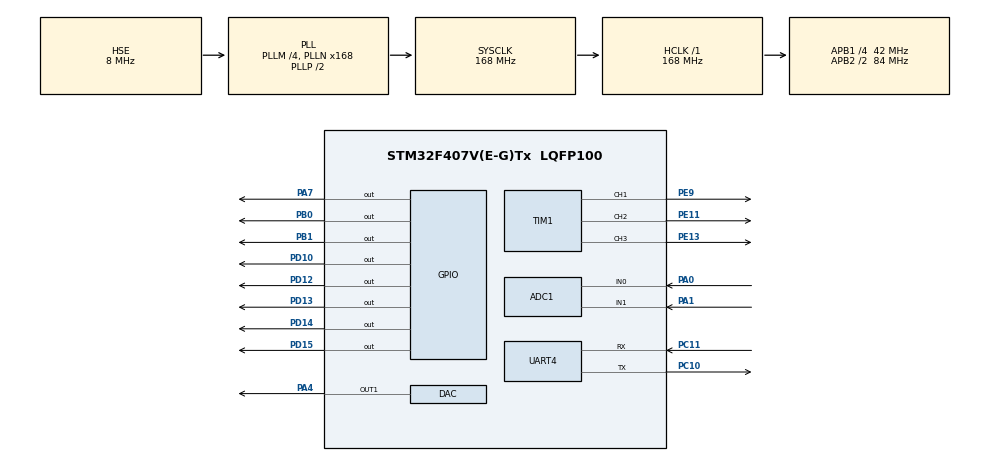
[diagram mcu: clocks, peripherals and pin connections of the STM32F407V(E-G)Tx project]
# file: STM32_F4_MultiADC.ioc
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ADC1.Channel-0\#ChannelRegularConversion=ADC_CHANNEL_0
ADC1.Channel-5\#ChannelRegularConversion=ADC_CHANNEL_1
ADC1.ContinuousConvMode=ENABLE
ADC1.DMAContinuousRequests=ENABLE
ADC1.EOCSelection=ADC_EOC_SINGLE_CONV
ADC1.EnableAnalogWatchDog=false
ADC1.InjNumberOfConversion=0
ADC1.NbrOfConversion=2
ADC1.NbrOfConversionFlag=1
ADC1.Rank-0\#ChannelRegularConversion=1
ADC1.Rank-5\#ChannelRegularConversion=2
ADC1.SamplingTime-0\#ChannelRegularConversion=ADC_SAMPLETIME_144CYCLES
ADC1.SamplingTime-5\#ChannelRegularConversion=ADC_SAMPLETIME_144CYCLES
ADC1.ScanConvMode=ENABLE
ADC1.master=1
Dma.ADC1.0.Direction=DMA_PERIPH_TO_MEMORY
Dma.ADC1.0.FIFOMode=DMA_FIFOMODE_DISABLE
Dma.ADC1.0.Instance=DMA2_Stream0
Dma.ADC1.0.MemDataAlignment=DMA_MDATAALIGN_HALFWORD
Dma.ADC1.0.MemInc=DMA_MINC_ENABLE
Dma.ADC1.0.Mode=DMA_CIRCULAR
Dma.ADC1.0.PeriphDataAlignment=DMA_PDATAALIGN_HALFWORD
Dma.ADC1.0.PeriphInc=DMA_PINC_DISABLE
Dma.ADC1.0.Priority=DMA_PRIORITY_LOW
Dma.Request0=ADC1
Mcu.Family=STM32F4
Mcu.Name=STM32F407V(E-G)Tx
Mcu.Package=LQFP100
NVIC.ADC_IRQn=true\:0\:0\:false\:false\:true\:true\:true\:true
NVIC.DMA2_Stream0_IRQn=true\:0\:0\:false\:false\:true\:false\:true\:true
NVIC.PriorityGroup=NVIC_PRIORITYGROUP_4
NVIC.TIM2_IRQn=true\:0\:0\:false\:false\:true\:true\:true\:true
NVIC.UART4_IRQn=true\:0\:0\:false\:false\:true\:true\:true\:true
PA0-WKUP.Signal=ADCx_IN0
PA1.Signal=ADCx_IN1
PA13.Mode=Serial_Wire
PA13.Signal=SYS_JTMS-SWDIO
PA14.Mode=Serial_Wire
PA14.Signal=SYS_JTCK-SWCLK
PA4.Signal=COMP_DAC1_group
PA7.Signal=GPIO_Output
PB0.Signal=GPIO_Output
PB1.Signal=GPIO_Output
PC10.Mode=Asynchronous
PC10.Signal=UART4_TX
PC11.Mode=Asynchronous
PC11.Signal=UART4_RX
PD10.Signal=GPIO_Output
PD12.Signal=GPIO_Output
PD13.Signal=GPIO_Output
PD14.Signal=GPIO_Output
PD15.Signal=GPIO_Output
PE11.Signal=S_TIM1_CH2
PE13.Signal=S_TIM1_CH3
PE9.Signal=S_TIM1_CH1
PH0-OSC_IN.Mode=HSE-External-Oscillator
PH0-OSC_IN.Signal=RCC_OSC_IN
PH1-OSC_OUT.Mode=HSE-External-Oscillator
PH1-OSC_OUT.Signal=RCC_OSC_OUT
ProjectManager.HeapSize=0x200
ProjectManager.StackSize=0x400
ProjectManager.TargetToolchain=STM32CubeIDE
RCC.48MHZClocksFreq_Value=84000000
RCC.AHBFreq_Value=168000000
RCC.APB1CLKDivider=RCC_HCLK_DIV4
RCC.APB1Freq_Value=42000000
RCC.APB1TimFreq_Value=84000000
RCC.APB2CLKDivider=RCC_HCLK_DIV2
RCC.APB2Freq_Value=84000000
RCC.APB2TimFreq_Value=168000000
RCC.CortexFreq_Value=168000000
RCC.HCLKFreq_Value=168000000
RCC.HSE_VALUE=8000000
RCC.HSI_VALUE=16000000
RCC.LSE_VALUE=32768
RCC.PLLM=4
RCC.PLLN=168
RCC.PLLSourceVirtual=RCC_PLLSOURCE_HSE
RCC.SYSCLKFreq_VALUE=168000000
RCC.SYSCLKSource=RCC_SYSCLKSOURCE_PLLCLK
RCC.VCOOutputFreq_Value=336000000
SH.ADCx_IN0.0=ADC1_IN0,IN0
SH.ADCx_IN1.0=ADC1_IN1,IN1
SH.COMP_DAC1_group.0=DAC_OUT1,DAC_OUT1
SH.S_TIM1_CH1.0=TIM1_CH1,PWM Generation1 CH1
SH.S_TIM1_CH2.0=TIM1_CH2,PWM Generation2 CH2
SH.S_TIM1_CH3.0=TIM1_CH3,PWM Generation3 CH3
TIM1.Channel-PWM\ Generation1\ CH1=TIM_CHANNEL_1
TIM1.Channel-PWM\ Generation2\ CH2=TIM_CHANNEL_2
TIM1.Channel-PWM\ Generation3\ CH3=TIM_CHANNEL_3
TIM2.Period=839
UART4.VirtualMode=Asynchronous
VP_TIM1_VS_ClockSourceINT.Mode=Internal
VP_TIM2_VS_ClockSourceINT.Mode=Internal
board=custom

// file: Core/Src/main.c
/* USER CODE BEGIN Header */
/**
  ******************************************************************************
  * @file           : main.c
  * @brief          : Main program body
  ******************************************************************************
  * @attention
  *
  * Copyright (c) 2025 STMicroelectronics.
  * All rights reserved.
  *
  * This software is licensed under terms that can be found in the LICENSE file
  * in the root directory of this software component.
  * If no LICENSE file comes with this software, it is provided AS-IS.
  *
  ******************************************************************************
  */
/* USER CODE END Header */
#include "main.h"

/* USER CODE BEGIN Includes */
#include "string.h"

volatile uint8_t timer_100uS=0;
uint8_t timer_1mS=0,timer_100mS=0,timer_1Sec=0,timer_3Sec=0,timer_10Sec=0;
uint32_t adc_raw=0;
uint16_t DAC_Val=0;
uint32_t VoltageVAl=0,Voltage_Filt=0;
uint8_t ReceiveData=0;
float V_meas=0;
float V_real=0;
uint16_t rx_index = 0;
uint8_t bcc_rx=0;
uint8_t rx_buffer[50];
uint8_t data_length=0;
uint8_t data_index=0;
float new_offset=0;
float new_gain=0;

uint16_t ADC_VAL[2];
volatile uint16_t adc_ch0 = 0;
volatile uint16_t adc_ch1 = 0;

typedef struct
{
    float adc_offset;
    float gain_correction;
    //parametre eklenirse
    //@add_param
    uint32_t valid_flag; // sonradan kontrol için
} CalibrationData_t;

CalibrationData_t calib_data;
/* USER CODE END Includes */

/* USER CODE BEGIN PD */
#define FLASH_USER_START_ADDR  ((uint32_t)0x080E0000) // Sector 11 start
#define FLASH_USER_SECTOR      FLASH_SECTOR_11
/* USER CODE END PD */

/* USER CODE BEGIN PM */
void send_voltage_packet(uint32_t raw_data,float real_data, float offset, float gain);
void calculate_adc_val(void);
void SaveCalibrationData(const CalibrationData_t *data);
void LoadCalibrationData(CalibrationData_t *data);
void Reset_Rx_Buffer(void);
void procces_rx_message(uint8_t *data);
/* USER CODE END PM */

ADC_HandleTypeDef hadc1;
DMA_HandleTypeDef hdma_adc1;

DAC_HandleTypeDef hdac;

TIM_HandleTypeDef htim1;
TIM_HandleTypeDef htim2;

UART_HandleTypeDef huart4;

void SystemClock_Config(void);
static void MX_GPIO_Init(void);
static void MX_DMA_Init(void);
static void MX_ADC1_Init(void);
static void MX_TIM1_Init(void);
static void MX_TIM2_Init(void);
static void MX_DAC_Init(void);
static void MX_UART4_Init(void);

int main(void)
{

  /* MCU Configuration--------------------------------------------------------*/

  /* Reset of all peripherals, Initializes the Flash interface and the Systick. */
  HAL_Init();

  /* Configure the system clock */
  SystemClock_Config();

  /* Initialize all configured peripherals */
  MX_GPIO_Init();
  MX_DMA_Init();
  MX_ADC1_Init();
  MX_TIM1_Init();
  MX_TIM2_Init();
  MX_DAC_Init();
  MX_UART4_Init();
  /* USER CODE BEGIN 2 */
  //HAL_UART_Transmit(&huart1, 0, 1, 10);
  //HAL_UART_Receive_IT(&huart4, &ReceiveData, 1);
  UART4->CR1 |= USART_CR1_RXNEIE;

  TIM2->DIER |= TIM_DIER_UIE;
  TIM2->CR1 |= TIM_CR1_CEN;
  LoadCalibrationData(&calib_data);
  HAL_DAC_Start(&hdac, DAC_CHANNEL_1);
  HAL_ADC_Start_DMA(&hadc1, (uint32_t*)ADC_VAL, 2);
  /* USER CODE END 2 */

  /* Infinite loop */
  /* USER CODE BEGIN WHILE */
  while (1)
  {
	  if(timer_100uS>9)//100uS Loop
	  {timer_1mS++;
		  calculate_adc_val();
		  HAL_DAC_SetValue(&hdac, DAC_CHANNEL_1,DAC_ALIGN_12B_R, DAC_Val);
		  timer_100uS=0;
	  }
	  if(timer_1mS>9)//1mS Loop
	  {timer_100mS++;
	  GPIOD->ODR ^= (1<<13);
		  timer_1mS=0;
	  }
	  if(timer_100mS>99)//100mS Loop
	  {timer_1Sec++;
	  GPIOD->ODR ^= (1<<14);
		  timer_100mS=0;
	  }
	  if(timer_1Sec>9)//1Sec Loop
	  {timer_10Sec++;timer_3Sec++;
	  GPIOD->ODR ^= (1<<15);
		  timer_1Sec=0;
	  }
	  if(timer_3Sec>2)//3Sec Loop
	  {
		  GPIOD->ODR ^= (1<<12);
		  timer_3Sec=0;
	  }
	  if(timer_10Sec>9)//10Sec Loop
	  {
		  GPIOD->ODR ^= (1<<10);
		  timer_10Sec=0;
	  }
    /* USER CODE END WHILE */

  }
}

void SystemClock_Config(void)
{
  RCC_OscInitTypeDef RCC_OscInitStruct = {0};
  RCC_ClkInitTypeDef RCC_ClkInitStruct = {0};

  /** Configure the main internal regulator output voltage
  */
  __HAL_RCC_PWR_CLK_ENABLE();
  __HAL_PWR_VOLTAGESCALING_CONFIG(PWR_REGULATOR_VOLTAGE_SCALE1);

  /** Initializes the RCC Oscillators according to the specified parameters
  * in the RCC_OscInitTypeDef structure.
  */
  RCC_OscInitStruct.OscillatorType = RCC_OSCILLATORTYPE_HSE;
  RCC_OscInitStruct.HSEState = RCC_HSE_ON;
  RCC_OscInitStruct.PLL.PLLState = RCC_PLL_ON;
  RCC_OscInitStruct.PLL.PLLSource = RCC_PLLSOURCE_HSE;
  RCC_OscInitStruct.PLL.PLLM = 4;
  RCC_OscInitStruct.PLL.PLLN = 168;
  RCC_OscInitStruct.PLL.PLLP = RCC_PLLP_DIV2;
  RCC_OscInitStruct.PLL.PLLQ = 4;
  if (HAL_RCC_OscConfig(&RCC_OscInitStruct) != HAL_OK)
  {
    Error_Handler();
  }

  /** Initializes the CPU, AHB and APB buses clocks
  */
  RCC_ClkInitStruct.ClockType = RCC_CLOCKTYPE_HCLK|RCC_CLOCKTYPE_SYSCLK
                              |RCC_CLOCKTYPE_PCLK1|RCC_CLOCKTYPE_PCLK2;
  RCC_ClkInitStruct.SYSCLKSource = RCC_SYSCLKSOURCE_PLLCLK;
  RCC_ClkInitStruct.AHBCLKDivider = RCC_SYSCLK_DIV1;
  RCC_ClkInitStruct.APB1CLKDivider = RCC_HCLK_DIV4;
  RCC_ClkInitStruct.APB2CLKDivider = RCC_HCLK_DIV2;

  if (HAL_RCC_ClockConfig(&RCC_ClkInitStruct, FLASH_LATENCY_5) != HAL_OK)
  {
    Error_Handler();
  }
}

static void MX_ADC1_Init(void)
{

  ADC_ChannelConfTypeDef sConfig = {0};

  /** Configure the global features of the ADC (Clock, Resolution, Data Alignment and number of conversion)
  */
  hadc1.Instance = ADC1;
  hadc1.Init.ClockPrescaler = ADC_CLOCK_SYNC_PCLK_DIV4;
  hadc1.Init.Resolution = ADC_RESOLUTION_12B;
  hadc1.Init.ScanConvMode = ENABLE;
  hadc1.Init.ContinuousConvMode = ENABLE;
  hadc1.Init.DiscontinuousConvMode = DISABLE;
  hadc1.Init.ExternalTrigConvEdge = ADC_EXTERNALTRIGCONVEDGE_NONE;
  hadc1.Init.ExternalTrigConv = ADC_SOFTWARE_START;
  hadc1.Init.DataAlign = ADC_DATAALIGN_RIGHT;
  hadc1.Init.NbrOfConversion = 2;
  hadc1.Init.DMAContinuousRequests = ENABLE;
  hadc1.Init.EOCSelection = ADC_EOC_SINGLE_CONV;
  if (HAL_ADC_Init(&hadc1) != HAL_OK)
  {
    Error_Handler();
  }

  /** Configure for the selected ADC regular channel its corresponding rank in the sequencer and its sample time.
  */
  sConfig.Channel = ADC_CHANNEL_0;
  sConfig.Rank = 1;
  sConfig.SamplingTime = ADC_SAMPLETIME_144CYCLES;
  if (HAL_ADC_ConfigChannel(&hadc1, &sConfig) != HAL_OK)
  {
    Error_Handler();
  }

  /** Configure for the selected ADC regular channel its corresponding rank in the sequencer and its sample time.
  */
  sConfig.Channel = ADC_CHANNEL_1;
  sConfig.Rank = 2;
  if (HAL_ADC_ConfigChannel(&hadc1, &sConfig) != HAL_OK)
  {
    Error_Handler();
  }

}

static void MX_DAC_Init(void)
{

  DAC_ChannelConfTypeDef sConfig = {0};

  /** DAC Initialization
  */
  hdac.Instance = DAC;
  if (HAL_DAC_Init(&hdac) != HAL_OK)
  {
    Error_Handler();
  }

  /** DAC channel OUT1 config
  */
  sConfig.DAC_Trigger = DAC_TRIGGER_NONE;
  sConfig.DAC_OutputBuffer = DAC_OUTPUTBUFFER_ENABLE;
  if (HAL_DAC_ConfigChannel(&hdac, &sConfig, DAC_CHANNEL_1) != HAL_OK)
  {
    Error_Handler();
  }

}

static void MX_TIM1_Init(void)
{

  TIM_ClockConfigTypeDef sClockSourceConfig = {0};
  TIM_MasterConfigTypeDef sMasterConfig = {0};
  TIM_OC_InitTypeDef sConfigOC = {0};
  TIM_BreakDeadTimeConfigTypeDef sBreakDeadTimeConfig = {0};

  htim1.Instance = TIM1;
  htim1.Init.Prescaler = 0;
  htim1.Init.CounterMode = TIM_COUNTERMODE_UP;
  htim1.Init.Period = 65535;
  htim1.Init.ClockDivision = TIM_CLOCKDIVISION_DIV1;
  htim1.Init.RepetitionCounter = 0;
  htim1.Init.AutoReloadPreload = TIM_AUTORELOAD_PRELOAD_DISABLE;
  if (HAL_TIM_Base_Init(&htim1) != HAL_OK)
  {
    Error_Handler();
  }
  sClockSourceConfig.ClockSource = TIM_CLOCKSOURCE_INTERNAL;
  if (HAL_TIM_ConfigClockSource(&htim1, &sClockSourceConfig) != HAL_OK)
  {
    Error_Handler();
  }
  if (HAL_TIM_PWM_Init(&htim1) != HAL_OK)
  {
    Error_Handler();
  }
  sMasterConfig.MasterOutputTrigger = TIM_TRGO_RESET;
  sMasterConfig.MasterSlaveMode = TIM_MASTERSLAVEMODE_DISABLE;
  if (HAL_TIMEx_MasterConfigSynchronization(&htim1, &sMasterConfig) != HAL_OK)
  {
    Error_Handler();
  }
  sConfigOC.OCMode = TIM_OCMODE_PWM1;
  sConfigOC.Pulse = 0;
  sConfigOC.OCPolarity = TIM_OCPOLARITY_HIGH;
  sConfigOC.OCNPolarity = TIM_OCNPOLARITY_HIGH;
  sConfigOC.OCFastMode = TIM_OCFAST_DISABLE;
  sConfigOC.OCIdleState = TIM_OCIDLESTATE_RESET;
  sConfigOC.OCNIdleState = TIM_OCNIDLESTATE_RESET;
  if (HAL_TIM_PWM_ConfigChannel(&htim1, &sConfigOC, TIM_CHANNEL_1) != HAL_OK)
  {
    Error_Handler();
  }
  if (HAL_TIM_PWM_ConfigChannel(&htim1, &sConfigOC, TIM_CHANNEL_2) != HAL_OK)
  {
    Error_Handler();
  }
  if (HAL_TIM_PWM_ConfigChannel(&htim1, &sConfigOC, TIM_CHANNEL_3) != HAL_OK)
  {
    Error_Handler();
  }
  sBreakDeadTimeConfig.OffStateRunMode = TIM_OSSR_DISABLE;
  sBreakDeadTimeConfig.OffStateIDLEMode = TIM_OSSI_DISABLE;
  sBreakDeadTimeConfig.LockLevel = TIM_LOCKLEVEL_OFF;
  sBreakDeadTimeConfig.DeadTime = 0;
  sBreakDeadTimeConfig.BreakState = TIM_BREAK_DISABLE;
  sBreakDeadTimeConfig.BreakPolarity = TIM_BREAKPOLARITY_HIGH;
  sBreakDeadTimeConfig.AutomaticOutput = TIM_AUTOMATICOUTPUT_DISABLE;
  if (HAL_TIMEx_ConfigBreakDeadTime(&htim1, &sBreakDeadTimeConfig) != HAL_OK)
  {
    Error_Handler();
  }
  HAL_TIM_MspPostInit(&htim1);

}

static void MX_TIM2_Init(void)
{

  TIM_ClockConfigTypeDef sClockSourceConfig = {0};
  TIM_MasterConfigTypeDef sMasterConfig = {0};

  htim2.Instance = TIM2;
  htim2.Init.Prescaler = 0;
  htim2.Init.CounterMode = TIM_COUNTERMODE_UP;
  htim2.Init.Period = 839;
  htim2.Init.ClockDivision = TIM_CLOCKDIVISION_DIV1;
  htim2.Init.AutoReloadPreload = TIM_AUTORELOAD_PRELOAD_DISABLE;
  if (HAL_TIM_Base_Init(&htim2) != HAL_OK)
  {
    Error_Handler();
  }
  sClockSourceConfig.ClockSource = TIM_CLOCKSOURCE_INTERNAL;
  if (HAL_TIM_ConfigClockSource(&htim2, &sClockSourceConfig) != HAL_OK)
  {
    Error_Handler();
  }
  sMasterConfig.MasterOutputTrigger = TIM_TRGO_RESET;
  sMasterConfig.MasterSlaveMode = TIM_MASTERSLAVEMODE_DISABLE;
  if (HAL_TIMEx_MasterConfigSynchronization(&htim2, &sMasterConfig) != HAL_OK)
  {
    Error_Handler();
  }

}

static void MX_UART4_Init(void)
{

  huart4.Instance = UART4;
  huart4.Init.BaudRate = 115200;
  huart4.Init.WordLength = UART_WORDLENGTH_8B;
  huart4.Init.StopBits = UART_STOPBITS_1;
  huart4.Init.Parity = UART_PARITY_NONE;
  huart4.Init.Mode = UART_MODE_TX_RX;
  huart4.Init.HwFlowCtl = UART_HWCONTROL_NONE;
  huart4.Init.OverSampling = UART_OVERSAMPLING_16;
  if (HAL_UART_Init(&huart4) != HAL_OK)
  {
    Error_Handler();
  }

}

static void MX_DMA_Init(void)
{

  /* DMA controller clock enable */
  __HAL_RCC_DMA2_CLK_ENABLE();

  /* DMA interrupt init */
  /* DMA2_Stream0_IRQn interrupt configuration */
  HAL_NVIC_SetPriority(DMA2_Stream0_IRQn, 0, 0);
  HAL_NVIC_EnableIRQ(DMA2_Stream0_IRQn);

}

static void MX_GPIO_Init(void)
{
  GPIO_InitTypeDef GPIO_InitStruct = {0};

  /* GPIO Ports Clock Enable */
  __HAL_RCC_GPIOH_CLK_ENABLE();
  __HAL_RCC_GPIOA_CLK_ENABLE();
  __HAL_RCC_GPIOB_CLK_ENABLE();
  __HAL_RCC_GPIOE_CLK_ENABLE();
  __HAL_RCC_GPIOD_CLK_ENABLE();
  __HAL_RCC_GPIOC_CLK_ENABLE();

  /*Configure GPIO pin Output Level */
  HAL_GPIO_WritePin(GPIOA, GPIO_PIN_7, GPIO_PIN_RESET);

  /*Configure GPIO pin Output Level */
  HAL_GPIO_WritePin(GPIOB, GPIO_PIN_0|GPIO_PIN_1, GPIO_PIN_RESET);

  /*Configure GPIO pin Output Level */
  HAL_GPIO_WritePin(GPIOD, GPIO_PIN_10|GPIO_PIN_12|GPIO_PIN_13|GPIO_PIN_14
                          |GPIO_PIN_15, GPIO_PIN_RESET);

  /*Configure GPIO pin : PA7 */
  GPIO_InitStruct.Pin = GPIO_PIN_7;
  GPIO_InitStruct.Mode = GPIO_MODE_OUTPUT_PP;
  GPIO_InitStruct.Pull = GPIO_NOPULL;
  GPIO_InitStruct.Speed = GPIO_SPEED_FREQ_LOW;
  HAL_GPIO_Init(GPIOA, &GPIO_InitStruct);

  /*Configure GPIO pins : PB0 PB1 */
  GPIO_InitStruct.Pin = GPIO_PIN_0|GPIO_PIN_1;
  GPIO_InitStruct.Mode = GPIO_MODE_OUTPUT_PP;
  GPIO_InitStruct.Pull = GPIO_NOPULL;
  GPIO_InitStruct.Speed = GPIO_SPEED_FREQ_LOW;
  HAL_GPIO_Init(GPIOB, &GPIO_InitStruct);

  /*Configure GPIO pins : PD10 PD12 PD13 PD14
                           PD15 */
  GPIO_InitStruct.Pin = GPIO_PIN_10|GPIO_PIN_12|GPIO_PIN_13|GPIO_PIN_14
                          |GPIO_PIN_15;
  GPIO_InitStruct.Mode = GPIO_MODE_OUTPUT_PP;
  GPIO_InitStruct.Pull = GPIO_NOPULL;
  GPIO_InitStruct.Speed = GPIO_SPEED_FREQ_LOW;
  HAL_GPIO_Init(GPIOD, &GPIO_InitStruct);

}

/* USER CODE BEGIN 4 */
void SaveCalibrationData(const CalibrationData_t *data)
{
    HAL_FLASH_Unlock();

    // Sector Erase
    FLASH_EraseInitTypeDef EraseInitStruct;
    uint32_t SectorError;

    EraseInitStruct.TypeErase = FLASH_TYPEERASE_SECTORS;
    EraseInitStruct.VoltageRange = FLASH_VOLTAGE_RANGE_3;
    EraseInitStruct.Sector = FLASH_USER_SECTOR;
    EraseInitStruct.NbSectors = 1;

    if (HAL_FLASHEx_Erase(&EraseInitStruct, &SectorError) != HAL_OK)
    {
        HAL_FLASH_Lock();
        return;
    }

    const uint32_t *pData = (const uint32_t *)data;
    for (uint32_t i = 0; i < sizeof(CalibrationData_t)/4; i++)
    {
        HAL_FLASH_Program(FLASH_TYPEPROGRAM_WORD, FLASH_USER_START_ADDR + i*4, pData[i]);
    }

    HAL_FLASH_Lock();
}

void LoadCalibrationData(CalibrationData_t *data)
{
    const uint32_t *pData = (const uint32_t *)FLASH_USER_START_ADDR;

    for (uint32_t i = 0; i < sizeof(CalibrationData_t)/4; i++)
    {
        ((uint32_t *)data)[i] = pData[i];
    }

    // Eğer hiç yazılmamışsa default değer ata
    if (data->valid_flag != 0xA5A5A5A5)
    {
        data->adc_offset = 0.0f;
        data->gain_correction = 0.911f;
        //yeni parametre eklenirse
        //@add_param
        data->valid_flag = 0xA5A5A5A5;
    }
}

void HAL_ADC_ConvCpltCallback(ADC_HandleTypeDef* hadc)
{
    adc_raw = ADC_VAL[0];
    adc_ch1 = ADC_VAL[1];
}

void UART4_IRQHandler(void)
{//timeout eklenecek
	if (UART4->SR & USART_SR_RXNE)
		{
		ReceiveData = (uint8_t)UART4->DR;
    	switch(rx_index)
    	{
    	case 0 ://Prefix Control
    		if(ReceiveData == 0x48)
    		{
    			rx_buffer[0] = ReceiveData;
    			bcc_rx^=rx_buffer[0];
				rx_index=1;
    		}
    		break;
    	case 1://Receive Header
    			rx_buffer[1] = ReceiveData;
    			bcc_rx^=rx_buffer[1];
    			rx_index=2;
    		break;
    	case 2://Length
    		rx_buffer[2] = ReceiveData;
    		bcc_rx^=rx_buffer[2];
    		data_length = rx_buffer[2];
    		if(data_length == 0x00)
    		{
    			rx_index=4;//Go BCC
    		}
    		else
    		{
    			rx_index=3; //Go Data
    		}
    		break;
    	case 3://Data
    		rx_buffer[3 + data_index] = ReceiveData;
    		bcc_rx ^= rx_buffer[3 + data_index];
    		data_index++;
    		if(data_index >= data_length)
    		{
    			rx_index=4;//Data Finsh Go BCC
    		}
    		break;
    	case 4://BCC
    		if(bcc_rx == ReceiveData)
    		{
    			rx_index=5;//End Bit Control
    		}
    		else
    		{
    			Reset_Rx_Buffer();
    		}
    		break;
    	case 5://End Bit Control
    		if(ReceiveData == 0x0A)
    		{
    			procces_rx_message(rx_buffer);
    			Reset_Rx_Buffer();
    		}
    		else
    		{
    			Reset_Rx_Buffer();
    		}
    		break;
    	default:
    		Reset_Rx_Buffer();
    		break;
    	}
    	//HAL_UART_Receive_IT(huart, &ReceiveData, 1);
    }

}
// 0x48    0x01    0x08    D1-0   D1-1    D1-2    D1-3    D2-0    D2-1    D2-2    D2-3    BRC    0x0A //Gain ve Ofseti Güncelle
// 0x48    0x02    0x08    D1-0   D1-1    D1-2    D1-3    D2-0    D2-1    D2-2    D2-3    BCC    0x0A  //Write Flash MEM
void procces_rx_message(uint8_t *data)
{
	switch (data[1])
	{
		case 0x01://update Offset and Gain
		{
			if(data[2] != 0x08)
				return; // Beklenmeyen uzunluk
			uint32_t offset_raw =
		        (data[3]) |
		        (data[4]<<8) |
		        (data[5]<<16) |
		        (data[6]<<24);

			uint32_t gain_raw =
		        (data[7]) |
		        (data[8]<<8) |
		        (data[9]<<16) |
		        (data[10]<<24);
			memcpy(&new_offset, &offset_raw, 4);
			memcpy(&new_gain, &gain_raw, 4);
			calib_data.adc_offset = new_offset;
			calib_data.gain_correction = new_gain;
		}
			break;
		case 0x02://write Gain and Offset for Flash Memory
			if(data[2] != 0x08)
				return; // Beklenmeyen uzunluk
			uint32_t offset_raw =
		        (data[3]) |
		        (data[4]<<8) |
		        (data[5]<<16) |
		        (data[6]<<24);

			uint32_t gain_raw =
		        (data[7]) |
		        (data[8]<<8) |
		        (data[9]<<16) |
		        (data[10]<<24);
			memcpy(&new_offset, &offset_raw, 4);
			memcpy(&new_gain, &gain_raw, 4);
			SaveCalibrationData(&calib_data);
			break;
		case 0x03://Query
			if(data[2] != 0x02)
				return;
			send_voltage_packet(adc_raw,V_real,calib_data.adc_offset,calib_data.gain_correction);
			DAC_Val = (data[3] << 8) | data[4];
			break;
		default:
			break;
	}
}

void Reset_Rx_Buffer(void)
{
	bcc_rx=0;	rx_index=0;		data_length=0;		data_index=0;
	memset(rx_buffer, 0, sizeof(rx_buffer));
}

void send_voltage_packet(uint32_t raw_data,float real_data, float offset, float gain)
{
	uint8_t SendVal [30];
	uint8_t bcc=0;
	bcc=0;
	SendVal[0]=0x48;//prefix
	SendVal[1]=0x01;//header
	SendVal[2]=0x14;//MessageLenght
	bcc^=(SendVal[0]);
	bcc^=(SendVal[1]);
	bcc^=(SendVal[2]);

	SendVal[3]=(uint8_t)(adc_raw & 0xFF); 		bcc^=(SendVal[3]);
	SendVal[4]=(uint8_t)(adc_raw>>8 & 0xFF);	bcc^=(SendVal[4]);
	SendVal[5]=(uint8_t)(adc_raw>>16 & 0xFF);	bcc^=(SendVal[5]);
	SendVal[6]=(uint8_t)(adc_raw>>24 & 0xFF);	bcc^=(SendVal[6]);

	SendVal[7]=(uint8_t)(adc_ch1 & 0xFF); 		bcc^=(SendVal[7]);
	SendVal[8]=(uint8_t)(adc_ch1>>8 & 0xFF);	bcc^=(SendVal[8]);
	SendVal[9]=(uint8_t)(adc_ch1>>16 & 0xFF);	bcc^=(SendVal[9]);
	SendVal[10]=(uint8_t)(adc_ch1>>24 & 0xFF);	bcc^=(SendVal[10]);

	uint8_t *float_byte = (uint8_t*)&V_real;
	SendVal[11] = float_byte[0];				bcc^=(SendVal[11]);
	SendVal[12] = float_byte[1];				bcc^=(SendVal[12]);
	SendVal[13] = float_byte[2];				bcc^=(SendVal[13]);
	SendVal[14] = float_byte[3];				bcc^=(SendVal[14]);

	uint8_t *float_byte1 = (uint8_t*)&offset;
	SendVal[15] = float_byte1[0];				bcc^=(SendVal[15]);
	SendVal[16] = float_byte1[1];				bcc^=(SendVal[16]);
	SendVal[17] = float_byte1[2];				bcc^=(SendVal[17]);
	SendVal[18] = float_byte1[3];				bcc^=(SendVal[18]);

	uint8_t *float_byte2 = (uint8_t*)&gain;
	SendVal[19] = float_byte2[0];				bcc^=(SendVal[19]);
	SendVal[20] = float_byte2[1];				bcc^=(SendVal[20]);
	SendVal[21] = float_byte2[2];				bcc^=(SendVal[21]);
	SendVal[22] = float_byte2[3];				bcc^=(SendVal[22]);

	SendVal[23] = bcc;
	SendVal[24] = 0x0A;
	HAL_UART_Transmit(&huart4, SendVal, 25, 10);
}

void calculate_adc_val(void)
{
	  if(adc_raw > calib_data.adc_offset)
	  	    adc_raw -= calib_data.adc_offset;
	   else
	  	    adc_raw = 0;

	  VoltageVAl+=adc_raw;
	  VoltageVAl-=Voltage_Filt;
	  Voltage_Filt=VoltageVAl>>8;

	  V_meas = (3.3f * Voltage_Filt) / 4095.0f;
	  V_real = V_meas * 11.0f * calib_data.gain_correction;
}
/* USER CODE END 4 */

void Error_Handler(void)
{
  __disable_irq();
  while (1)
  {
  }
}
